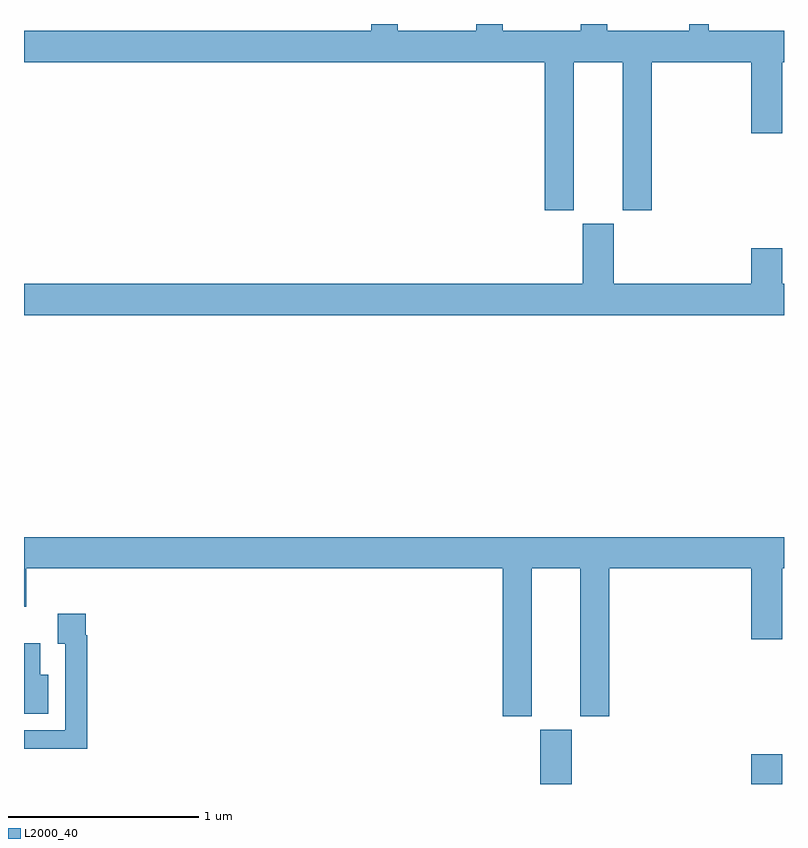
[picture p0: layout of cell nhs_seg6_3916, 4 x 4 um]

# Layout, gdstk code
import gdstk
lib = gdstk.Library(unit=1e-6, precision=1e-09)
def R(c, l, rs):  # rectangles x0, y0, x1, y1
    for r in rs: c.add(gdstk.rectangle(r[:2], r[2:], *l))
def P(c, l, *ps):  # polygons
    for p in ps: c.add(gdstk.Polygon(p, *l))
L2000_40 = (2000, 40)

nhs_seg6_3916 = lib.new_cell('nhs_seg6_3916')
R(nhs_seg6_3916, L2000_40, [(343.718,979.5,343.882,979.785), (344.828,979.5,344.992,979.657)])
P(nhs_seg6_3916, L2000_40, [(343.894,983.3),(344.15,983.3),(344.15,982.521),(344.303,982.521),(344.303,983.3),(344.828,983.3),(344.828,982.926),(344.992,982.926),(344.992,983.3),(345,983.3),(345,983.464),(344.605,983.464),(344.605,983.5),(344.501,983.5),(344.501,983.464),(344.071,983.464),(344.071,983.5),(343.931,983.5),(343.931,983.464),(343.519,983.464),(343.519,983.5),(343.379,983.5),(343.379,983.464),(342.967,983.464),(342.967,983.5),(342.827,983.5),(342.827,983.464),(341,983.464),(341,983.3),(343.742,983.3),(343.742,982.521),(343.894,982.521)],
  [(345,982.132),(344.992,982.132),(344.992,982.321),(344.828,982.321),(344.828,982.132),(344.104,982.132),(344.104,982.449),(343.94,982.449),(343.94,982.132),(341,982.132),(341,981.968),(345,981.968)],
  [(343.672,980.636),(343.928,980.636),(343.928,979.857),(344.081,979.857),(344.081,980.636),(344.828,980.636),(344.828,980.262),(344.992,980.262),(344.992,980.636),(345,980.636),(345,980.8),(341,980.8),(341,980.434),(341.012,980.434),(341.012,980.636),(343.52,980.636),(343.52,979.857),(343.672,979.857)],
  [(341.333,980.282),(341.326,980.282),(341.326,980.395),(341.177,980.395),(341.177,980.239),(341.217,980.239),(341.217,979.782),(341,979.782),(341,979.686),(341.041,979.686),(341.041,979.685),(341.333,979.685)],
  [(341.128,980.074),(341.086,980.074),(341.086,980.242),(341,980.242),(341,979.871),(341.128,979.871)])

lib.write_gds('nhs_seg6_3916.gds')
